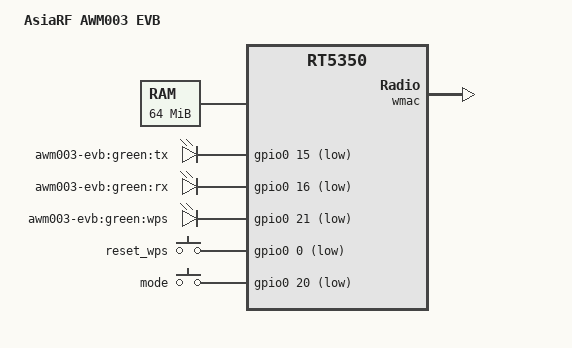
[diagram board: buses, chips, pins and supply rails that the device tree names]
/dts-v1/;

#include "AWM002-8M.dtsi"

/ {
	compatible = "AWM003", "ralink,rt5350-soc";
	model = "AsiaRF AWM003 EVB";

	memory@0 {
		device_type = "memory";
		reg = <0x0 0x4000000>;
	};

	gpio-leds {
		compatible = "gpio-leds";

		tx {
			label = "awm003-evb:green:tx";
			gpios = <&gpio0 15 1>;
		};

		rx {
			label = "awm003-evb:green:rx";
			gpios = <&gpio0 16 1>;
		};

		wps {
			label = "awm003-evb:green:wps";
			gpios = <&gpio0 21 1>;
		};
	};

	gpio-keys-polled {
		compatible = "gpio-keys-polled";
		#address-cells = <1>;
		#size-cells = <0>;
		poll-interval = <20>;

		reset_wps {
			label = "reset_wps";
			gpios = <&gpio0 0 1>;
			linux,code = <0x198>;
		};

		mode {
			label = "mode";
			gpios = <&gpio0 20 1>;
			linux,code = <0x32>;
		};
	};
};

&m25p80 {
	compatible = "jedec,spi-nor";
	linux,modalias = "m25p80", "mx25l6405d";
};

&ethernet {
	mtd-mac-address = <&factory 0x28>;
};

&wmac {
	ralink,mtd-eeprom = <&factory 0>;
};
